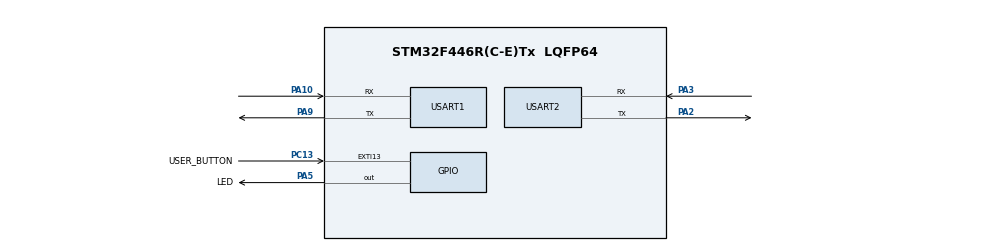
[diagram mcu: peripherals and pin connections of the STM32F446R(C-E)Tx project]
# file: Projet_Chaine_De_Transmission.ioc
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FREERTOS.Tasks01=defaultTask,24,128,StartDefaultTask,Default,NULL,Dynamic,NULL,NULL
Mcu.Family=STM32F4
Mcu.Name=STM32F446R(C-E)Tx
Mcu.Package=LQFP64
NVIC.PriorityGroup=NVIC_PRIORITYGROUP_4
PA10.Mode=Asynchronous
PA10.Signal=USART1_RX
PA2.Mode=Asynchronous
PA2.Signal=USART2_TX
PA3.Mode=Asynchronous
PA3.Signal=USART2_RX
PA5.GPIO_Label=LED
PA5.Signal=GPIO_Output
PA9.Mode=Asynchronous
PA9.Signal=USART1_TX
PC13.GPIO_Label=USER_BUTTON
PC13.Signal=GPXTI13
ProjectManager.HeapSize=0x200
ProjectManager.StackSize=0x400
ProjectManager.TargetToolchain=CMake
RCC.CortexFreq_Value=16000000
RCC.USBFreq_Value=96000000
RCC.VCOOutputFreq_Value=192000000
USART1.VirtualMode=VM_ASYNC
USART2.VirtualMode=VM_ASYNC
VP_FREERTOS_VS_CMSIS_V2.Mode=CMSIS_V2
board=custom

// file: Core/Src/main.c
/* USER CODE BEGIN Header */
/**
  ******************************************************************************
  * @file           : main.c
  * @brief          : Main program body
  ******************************************************************************
  * @attention
  *
  * Copyright (c) 2026 STMicroelectronics.
  * All rights reserved.
  *
  * This software is licensed under terms that can be found in the LICENSE file
  * in the root directory of this software component.
  * If no LICENSE file comes with this software, it is provided AS-IS.
  *
  ******************************************************************************
  */
/* USER CODE END Header */
#include "main.h"
#include "cmsis_os.h"
#include "protocol_icd.h"
#include "string.h"
#include <stdbool.h>
#include<stdio.h>

UART_HandleTypeDef huart1;
UART_HandleTypeDef huart2;

/* Definitions for defaultTask */
osThreadId_t communicationTaskHandle;
osThreadId_t protocolTaskHandle;
osThreadId_t securityTaskHandle;
osThreadId_t statusTaskHandle;

osMessageQueueId_t rxQueue;
osMessageQueueId_t txQueue;

const osThreadAttr_t communicationTask_attributes = {
    .name = "communicationTask",
    .stack_size = 2048,
    .priority = (osPriority_t) osPriorityNormal,
};

const osThreadAttr_t protocolTask_attributes = {
    .name = "protocolTask",
    .stack_size = 2048,
    /* Prioritaire sur CommunicationTask pour traiter immediatement rxQueue. */
    .priority = (osPriority_t) osPriorityAboveNormal,
};

const osThreadAttr_t securityTask_attributes = {
    .name = "securityTask",
    .stack_size = 512,
    .priority = (osPriority_t) osPriorityNormal,
};

const osThreadAttr_t statusTask_attributes = {
    .name = "statusTask",
    .stack_size = 512,
    .priority = (osPriority_t) osPriorityNormal,
};
/* USER CODE BEGIN PV */

typedef enum
{
    RX_SOURCE_USART1 = 0, /* Trame recue depuis l'autre carte */
    RX_SOURCE_PC = 1       /* Commande recue depuis le terminal USB */
} RxSource_t;

typedef struct
{
    ProtocolMessage_t message;
    RxSource_t source;
} RxQueueItem_t;

typedef enum
{
    MODULE_UNINITIALIZED = 0,
    MODULE_SYNCHRONIZING,
    MODULE_SYNCHRONIZED
} ModuleState_t;

/* Ces informations sont propres a chaque carte et initialisees a l'execution. */
static volatile ModuleState_t moduleState = MODULE_UNINITIALIZED;
static volatile bool moduleIsMaster = false;
static volatile uint8_t modulePosition = 0U;
static volatile uint32_t moduleId = 0U; /* ID dynamique: maitre=1, carte suivante=2. */

/* Cle de 32 bits stockee localement sur chaque carte. */
static uint32_t moduleKey = 0U;
static volatile bool keyUpdatePending = false;

/* Reinitialisation coordonnee et triple-clic sur le bouton USER. */
static volatile bool resetPending = false;
static volatile bool buttonResetRequested = false;
static volatile uint8_t userButtonPressCount = 0U;
static volatile uint32_t userButtonFirstPressTick = 0U;
static volatile uint32_t userButtonLastPressTick = 0U;

/* Reception USART1 et USART2 par interruption avec buffers circulaires. */
#define UART1_RX_RING_SIZE 128U
#define UART2_RX_RING_SIZE 128U

static uint8_t uart1RxByte;
static uint8_t uart1RxRing[UART1_RX_RING_SIZE];
static volatile uint16_t uart1RxHead = 0U;
static volatile uint16_t uart1RxTail = 0U;
static volatile uint32_t uart1RxDroppedBytes = 0U;

static uint8_t uart2RxByte;
static uint8_t uart2RxRing[UART2_RX_RING_SIZE];
static volatile uint16_t uart2RxHead = 0U;
static volatile uint16_t uart2RxTail = 0U;
static volatile uint32_t uart2RxDroppedBytes = 0U;

/* USER CODE END PV */

void SystemClock_Config(void);
static void MX_GPIO_Init(void);
static void MX_USART1_UART_Init(void);
static void MX_USART2_UART_Init(void);
void CommunicationTask(void *argument);
void ProtocolTask(void *argument);
void SecurityTask(void *argument);
void StatusTask(void *argument);
static bool Protocol_IsMessageValid(const ProtocolMessage_t *message);
static void Protocol_ProcessMessage(const RxQueueItem_t *item);
static void Console_ProcessLine(const char *line);
static void Console_Write(const char *text);
static void Protocol_SendUart1(uint8_t command, const uint8_t *payload, uint8_t length);
static uint32_t Protocol_GenerateKey32(void);
static void Protocol_XorCrypt(uint8_t *data, uint8_t length, uint32_t key);

int main(void)
{

  /* MCU Configuration--------------------------------------------------------*/

  /* Reset of all peripherals, Initializes the Flash interface and the Systick. */
  HAL_Init();

  /* Configure the system clock */
  SystemClock_Config();

  /* Initialize all configured peripherals */
  MX_GPIO_Init();
  MX_USART1_UART_Init();
  MX_USART2_UART_Init();

  /* Init scheduler */
  osKernelInitialize();

  /* USER CODE BEGIN RTOS_QUEUES */
  /* add queues, ... */
  rxQueue = osMessageQueueNew(5, sizeof(RxQueueItem_t), NULL);

  txQueue = osMessageQueueNew(5, sizeof(ProtocolMessage_t), NULL);

  if ((rxQueue == NULL) || (txQueue == NULL))
  {
      Error_Handler();
  }
  /* USER CODE END RTOS_QUEUES */

  /* Create the thread(s) */
  /* creation of defaultTask */
  communicationTaskHandle =
      osThreadNew(CommunicationTask, NULL, &communicationTask_attributes);

  protocolTaskHandle =
      osThreadNew(ProtocolTask, NULL, &protocolTask_attributes);

  securityTaskHandle =
      osThreadNew(SecurityTask, NULL, &securityTask_attributes);

  statusTaskHandle =
      osThreadNew(StatusTask, NULL, &statusTask_attributes);

  /* Start scheduler */
  osKernelStart();

  /* We should never get here as control is now taken by the scheduler */

  /* Infinite loop */
  while (1)
  {

  }
}

void SystemClock_Config(void)
{
  RCC_OscInitTypeDef RCC_OscInitStruct = {0};
  RCC_ClkInitTypeDef RCC_ClkInitStruct = {0};

  /** Configure the main internal regulator output voltage
  */
  __HAL_RCC_PWR_CLK_ENABLE();
  __HAL_PWR_VOLTAGESCALING_CONFIG(PWR_REGULATOR_VOLTAGE_SCALE3);

  /** Initializes the RCC Oscillators according to the specified parameters
  * in the RCC_OscInitTypeDef structure.
  */
  RCC_OscInitStruct.OscillatorType = RCC_OSCILLATORTYPE_HSI;
  RCC_OscInitStruct.HSIState = RCC_HSI_ON;
  RCC_OscInitStruct.HSICalibrationValue = RCC_HSICALIBRATION_DEFAULT;
  RCC_OscInitStruct.PLL.PLLState = RCC_PLL_NONE;
  if (HAL_RCC_OscConfig(&RCC_OscInitStruct) != HAL_OK)
  {
    Error_Handler();
  }

  /** Initializes the CPU, AHB and APB buses clocks
  */
  RCC_ClkInitStruct.ClockType = RCC_CLOCKTYPE_HCLK|RCC_CLOCKTYPE_SYSCLK
                              |RCC_CLOCKTYPE_PCLK1|RCC_CLOCKTYPE_PCLK2;
  RCC_ClkInitStruct.SYSCLKSource = RCC_SYSCLKSOURCE_HSI;
  RCC_ClkInitStruct.AHBCLKDivider = RCC_SYSCLK_DIV1;
  RCC_ClkInitStruct.APB1CLKDivider = RCC_HCLK_DIV1;
  RCC_ClkInitStruct.APB2CLKDivider = RCC_HCLK_DIV1;

  if (HAL_RCC_ClockConfig(&RCC_ClkInitStruct, FLASH_LATENCY_0) != HAL_OK)
  {
    Error_Handler();
  }
}

static void MX_USART1_UART_Init(void)
{

  huart1.Instance = USART1;
  huart1.Init.BaudRate = 115200;
  huart1.Init.WordLength = UART_WORDLENGTH_8B;
  huart1.Init.StopBits = UART_STOPBITS_1;
  huart1.Init.Parity = UART_PARITY_NONE;
  huart1.Init.Mode = UART_MODE_TX_RX;
  huart1.Init.HwFlowCtl = UART_HWCONTROL_NONE;
  huart1.Init.OverSampling = UART_OVERSAMPLING_16;
  if (HAL_UART_Init(&huart1) != HAL_OK)
  {
    Error_Handler();
  }

}

static void MX_USART2_UART_Init(void)
{

  huart2.Instance = USART2;
  huart2.Init.BaudRate = 115200;
  huart2.Init.WordLength = UART_WORDLENGTH_8B;
  huart2.Init.StopBits = UART_STOPBITS_1;
  huart2.Init.Parity = UART_PARITY_NONE;
  huart2.Init.Mode = UART_MODE_TX_RX;
  huart2.Init.HwFlowCtl = UART_HWCONTROL_NONE;
  huart2.Init.OverSampling = UART_OVERSAMPLING_16;
  if (HAL_UART_Init(&huart2) != HAL_OK)
  {
    Error_Handler();
  }

}

static void MX_GPIO_Init(void)
{
  GPIO_InitTypeDef GPIO_InitStruct = {0};

  /* GPIO Ports Clock Enable */
  __HAL_RCC_GPIOC_CLK_ENABLE();
  __HAL_RCC_GPIOA_CLK_ENABLE();

  /*Configure GPIO pin Output Level */
  HAL_GPIO_WritePin(LED_GPIO_Port, LED_Pin, GPIO_PIN_RESET);

  /*Configure GPIO pin : USER_BUTTON_Pin */
  GPIO_InitStruct.Pin = USER_BUTTON_Pin;
  GPIO_InitStruct.Mode = GPIO_MODE_IT_RISING;
  GPIO_InitStruct.Pull = GPIO_NOPULL;
  HAL_GPIO_Init(USER_BUTTON_GPIO_Port, &GPIO_InitStruct);

  /*Configure GPIO pin : LED_Pin */
  GPIO_InitStruct.Pin = LED_Pin;
  GPIO_InitStruct.Mode = GPIO_MODE_OUTPUT_PP;
  GPIO_InitStruct.Pull = GPIO_NOPULL;
  GPIO_InitStruct.Speed = GPIO_SPEED_FREQ_LOW;
  HAL_GPIO_Init(LED_GPIO_Port, &GPIO_InitStruct);

}

static void Console_Write(const char *text)
{
    if (text != NULL)
    {
        (void)HAL_UART_Transmit(&huart2, (uint8_t *)text,
                                (uint16_t)strlen(text), 100U);
    }
}

static void Protocol_SendUart1(uint8_t command, const uint8_t *payload, uint8_t length)
{
    ProtocolMessage_t message = {0};
    HAL_StatusTypeDef status;

    if (length > MAX_PAYLOAD_SIZE)
    {
        Console_Write("ERREUR: payload trop long\r\n");
        return;
    }

    message.header.start_byte = ICD_START_BYTE;
    message.header.command_type = command;
    message.header.length = length;
    message.header.reserve = 0U;
    message.header.id_src = moduleId;

    if ((payload != NULL) && (length > 0U))
    {
        memcpy(message.payload, payload, length);
    }

    /* CRC conserve a zero pour cette etape du projet. */
    message.crc = 0U;

    status = HAL_UART_Transmit(&huart1,
                               (uint8_t *)&message,
                               (uint16_t)sizeof(message),
                               100U);

    if (status != HAL_OK)
    {
        Console_Write("[ERREUR] Echec de transmission vers la carte voisine.\r\n");
    }
}

void CommunicationTask(void *argument)
{
    uint8_t rxByte;
    uint8_t frame[sizeof(ProtocolMessage_t)];
    size_t frameIndex = 0U;
    uint32_t lastFrameByteTick = 0U;
    char consoleLine[32];
    size_t consoleIndex = 0U;
    bool discardConsoleLine = false;
    HAL_StatusTypeDef rxStatus;

    (void)argument;

    Console_Write("Demarrage OK - USART1=interruptions, USART2=console PC\r\n");
    Console_Write("Commandes: INIT, REINITIALISATION, INFO, GET_INFO, GET_KEY, texte (max 16 octets)\r\n");

    /* Demarrer les receptions interruptives sur les deux UART. */
    rxStatus = HAL_UART_Receive_IT(&huart1, &uart1RxByte, 1U);
    if (rxStatus != HAL_OK)
    {
        Console_Write("ERREUR: impossible de demarrer la reception USART1 par interruption.\r\n");
    }

    rxStatus = HAL_UART_Receive_IT(&huart2, &uart2RxByte, 1U);
    if (rxStatus != HAL_OK)
    {
        Console_Write("ERREUR: impossible de demarrer la reception USART2 par interruption.\r\n");
    }

    for (;;)
    {
        /* Traiter rapidement tous les octets USART1 mis en tampon par l'interruption. */
        while (uart1RxTail != uart1RxHead)
        {
            rxByte = uart1RxRing[uart1RxTail];
            uart1RxTail = (uint16_t)((uart1RxTail + 1U) % UART1_RX_RING_SIZE);

            if (frameIndex == 0U)
            {
                if (rxByte == ICD_START_BYTE)
                {
                    frame[0] = rxByte;
                    frameIndex = 1U;
                    lastFrameByteTick = HAL_GetTick();
                }
            }
            else
            {
                frame[frameIndex++] = rxByte;
                lastFrameByteTick = HAL_GetTick();

                if (frameIndex == sizeof(frame))
                {
                    RxQueueItem_t item = {0};
                    memcpy(&item.message, frame, sizeof(item.message));
                    item.source = RX_SOURCE_USART1;
                    frameIndex = 0U;

                    if (osMessageQueuePut(rxQueue, &item, 0U, 0U) != osOK)
                    {
                        Console_Write("ERREUR: file RX pleine, trame perdue.\r\n");
                    }
                }
            }
        }

        /* Une trame incomplete est ignoree sans afficher son contenu brut. */
        if ((frameIndex > 0U) && ((HAL_GetTick() - lastFrameByteTick) > 100U))
        {
            Console_Write("[ERREUR] Message incomplet ignore.\r\n");
            frameIndex = 0U;
        }

        /*
         * USART2 : traiter tous les octets de console captures par interruption.
         * On vide le ring buffer, pas un seul octet par tour de boucle.
         */
        while (uart2RxTail != uart2RxHead)
        {
            rxByte = uart2RxRing[uart2RxTail];
            uart2RxTail = (uint16_t)((uart2RxTail + 1U) % UART2_RX_RING_SIZE);

            if ((rxByte == '\r') || (rxByte == '\n'))
            {
                if (!discardConsoleLine && (consoleIndex > 0U))
                {
                    consoleLine[consoleIndex] = '\0';
                    Console_ProcessLine(consoleLine);
                }
                consoleIndex = 0U;
                discardConsoleLine = false;
            }
            else if (!discardConsoleLine)
            {
                if (consoleIndex < (sizeof(consoleLine) - 1U))
                {
                    consoleLine[consoleIndex++] = (char)rxByte;
                }
                else
                {
                    consoleIndex = 0U;
                    discardConsoleLine = true;
                    Console_Write("\r\nERREUR: commande trop longue\r\n");
                }
            }
        }

        /* Convertir le triple-clic en commande protocolaire hors interruption. */
        if (buttonResetRequested)
        {
            RxQueueItem_t buttonItem = {0};
            buttonResetRequested = false;
            buttonItem.message.header.start_byte = ICD_START_BYTE;
            buttonItem.message.header.command_type = CMD_RESET;
            buttonItem.message.header.length = 1U;
            buttonItem.message.header.reserve = 0U;
            buttonItem.message.header.id_src = moduleId;
            buttonItem.message.payload[0] = 0U;
            buttonItem.message.crc = 0U;
            buttonItem.source = RX_SOURCE_PC;

            if (osMessageQueuePut(rxQueue, &buttonItem, 0U, 0U) == osOK)
            {
                Console_Write("\r\n[RESET] Triple appui detecte ; reinitialisation demandee.\r\n");
            }
            else
            {
                Console_Write("\r\nERREUR: file RX pleine; reinitialisation non lancee.\r\n");
            }
        }

        osDelay(1U);
    }
}

/*
 * Reception USART1 par interruption. Cette routine ne fait aucun affichage
 * et n'appelle pas FreeRTOS : elle depose seulement l'octet dans le ring buffer.
 */
void HAL_UART_RxCpltCallback(UART_HandleTypeDef *huart)
{
    if ((huart != NULL) && (huart->Instance == USART1))
    {
        uint16_t nextHead = (uint16_t)((uart1RxHead + 1U) % UART1_RX_RING_SIZE);
        if (nextHead != uart1RxTail)
        {
            uart1RxRing[uart1RxHead] = uart1RxByte;
            uart1RxHead = nextHead;
        }
        else
        {
            uart1RxDroppedBytes++;
        }

        if (HAL_UART_Receive_IT(&huart1, &uart1RxByte, 1U) != HAL_OK)
        {
            uart1RxDroppedBytes++;
        }
    }
    else if ((huart != NULL) && (huart->Instance == USART2))
    {
        uint16_t nextHead = (uint16_t)((uart2RxHead + 1U) % UART2_RX_RING_SIZE);
        if (nextHead != uart2RxTail)
        {
            uart2RxRing[uart2RxHead] = uart2RxByte;
            uart2RxHead = nextHead;
        }
        else
        {
            uart2RxDroppedBytes++;
        }

        if (HAL_UART_Receive_IT(&huart2, &uart2RxByte, 1U) != HAL_OK)
        {
            uart2RxDroppedBytes++;
        }
    }
}

/*
 * Triple pression sur USER en moins de 1,5 s.
 * La callback ne fait que compter les appuis; le protocole est traite
 * ensuite dans CommunicationTask, hors interruption.
 */
void HAL_GPIO_EXTI_Callback(uint16_t GPIO_Pin)
{
    uint32_t now;

    if (GPIO_Pin != USER_BUTTON_Pin)
    {
        return;
    }

    now = HAL_GetTick();
    if ((userButtonLastPressTick != 0U) &&
        ((now - userButtonLastPressTick) < 180U))
    {
        return; /* anti-rebond */
    }
    userButtonLastPressTick = now;

    if ((userButtonPressCount == 0U) ||
        ((now - userButtonFirstPressTick) > 1500U))
    {
        userButtonPressCount = 1U;
        userButtonFirstPressTick = now;
    }
    else
    {
        userButtonPressCount++;
    }

    if (userButtonPressCount >= 3U)
    {
        buttonResetRequested = true;
        userButtonPressCount = 0U;
        userButtonFirstPressTick = 0U;
    }
}

void HAL_UART_ErrorCallback(UART_HandleTypeDef *huart)
{
    if ((huart != NULL) && (huart->Instance == USART1))
    {
        /* Recuperer les erreurs HAL avant de relancer la reception. */
        (void)HAL_UART_AbortReceive(&huart1);
        (void)HAL_UART_Receive_IT(&huart1, &uart1RxByte, 1U);
    }
    else if ((huart != NULL) && (huart->Instance == USART2))
    {
        (void)HAL_UART_AbortReceive(&huart2);
        (void)HAL_UART_Receive_IT(&huart2, &uart2RxByte, 1U);
    }
}

/*
 * Genere une valeur pseudo-aleatoire de 32 bits pour les essais fonctionnels.
 * IMPORTANT : ce generateur n'est pas cryptographiquement securise.
 * Pour une vraie cle cryptographique, utiliser le RNG materiel s'il est
 * disponible et active dans la configuration STM32CubeMX.
 */
static uint32_t Protocol_GenerateKey32(void)
{
    static uint32_t state = 0x6D2B79F5U;

    state ^= HAL_GetTick();
    state ^= SysTick->VAL;
    if (state == 0U)
    {
        state = 0xA341316CU;
    }

    /* Xorshift32 */
    state ^= state << 13;
    state ^= state >> 17;
    state ^= state << 5;

    if (state == 0U)
    {
        state = 0xA341316CU;
    }

    return state;
}

/*
 * Chiffrement pedagogique XOR avec reutilisation des 4 octets de la cle.
 * Attention : ce mecanisme n'est pas un chiffrement securise.
 * Appliquer deux fois la meme operation retrouve les octets d'origine.
 */
static void Protocol_XorCrypt(uint8_t *data, uint8_t length, uint32_t key)
{
    uint8_t keyBytes[4];
    uint8_t i;

    keyBytes[0] = (uint8_t)(key & 0xFFU);
    keyBytes[1] = (uint8_t)((key >> 8) & 0xFFU);
    keyBytes[2] = (uint8_t)((key >> 16) & 0xFFU);
    keyBytes[3] = (uint8_t)((key >> 24) & 0xFFU);

    for (i = 0U; i < length; i++)
    {
        data[i] ^= keyBytes[i % 4U];
    }
}

static void Console_ProcessLine(const char *line)
{
    RxQueueItem_t item = {0};
    char normalized[32];
    size_t start = 0U;
    size_t end;
    size_t length;
    size_t i;

    if (line == NULL)
    {
        return;
    }

    /* Retirer uniquement les espaces en debut/fin; conserver la casse du message. */
    while ((line[start] == ' ') || (line[start] == '\t'))
    {
        start++;
    }
    end = strlen(line);
    while ((end > start) &&
           ((line[end - 1U] == ' ') || (line[end - 1U] == '\t')))
    {
        end--;
    }
    length = end - start;

    if (length == 0U)
    {
        return;
    }

    /* Copie en majuscules uniquement pour reconnaitre I/INIT. */
    for (i = 0U; (i < length) && (i < (sizeof(normalized) - 1U)); i++)
    {
        char c = line[start + i];
        if ((c >= 'a') && (c <= 'z'))
        {
            c = (char)(c - 'a' + 'A');
        }
        normalized[i] = c;
    }
    normalized[i] = '\0';

    /*
     * GET_KEY affiche uniquement la cle deja generee pendant INIT.
     * Ne pas regenerer la cle ici : les deux cartes doivent conserver
     * la meme cle pour que le dechiffrement continue de fonctionner.
     */
    if (strcmp(normalized, "GET_KEY") == 0)
    {
        char keyText[16];

        if ((!moduleIsMaster) || (moduleState != MODULE_SYNCHRONIZED) ||
            (moduleKey == 0U))
        {
            Console_Write("ERREUR: aucune cle disponible; lancez INIT d'abord.\r\n");
            return;
        }

        (void)snprintf(keyText, sizeof(keyText), "0x%08lX\r\n",
                       (unsigned long)moduleKey);
        Console_Write(keyText);
        return;
    }

    /* Les logs detailles sont emis par le traitement de chaque commande. */

    if (strcmp(normalized, "REINITIALISATION") == 0)
    {
        item.message.header.start_byte = ICD_START_BYTE;
        item.message.header.command_type = CMD_RESET;
        item.message.header.length = 1U;
        item.message.header.reserve = 0U;
        item.message.header.id_src = moduleId;
        item.message.payload[0] = 0U;
        item.message.crc = 0U;
        item.source = RX_SOURCE_PC;

        if (osMessageQueuePut(rxQueue, &item, 0U, 0U) != osOK)
        {
            Console_Write("ERREUR: impossible de mettre REINITIALISATION en file.\r\n");
        }
        else
        {
            Console_Write("[RESET] Demande prise en compte.\r\n");
        }
        return;
    }

    if ((strcmp(normalized, "I") == 0) || (strcmp(normalized, "INIT") == 0))
    {
        item.message.header.start_byte = ICD_START_BYTE;
        item.message.header.command_type = CMD_INIT;
        item.message.header.length = 1U;
        item.message.header.reserve = 0U;
        item.message.header.id_src = moduleId;
        item.message.payload[0] = 0U; /* INIT = 0 selon l'ICD */
        item.message.crc = 0U;
        item.source = RX_SOURCE_PC;

        if (osMessageQueuePut(rxQueue, &item, 0U, 0U) != osOK)
        {
            Console_Write("ERREUR: impossible de mettre INIT en file\r\n");
        }
        else
        {
            Console_Write("[INIT] Initialisation demandee.\r\n");
        }
        return;
    }

    /* GET_INFO demande au maitre les informations de la carte esclave. */
    if (strcmp(normalized, "GET_INFO") == 0)
    {
        if ((!moduleIsMaster) || (moduleState != MODULE_SYNCHRONIZED))
        {
            Console_Write("ERREUR: GET_INFO necessite un maitre initialise et synchronise.\r\n");
            return;
        }

        item.message.header.start_byte = ICD_START_BYTE;
        item.message.header.command_type = CMD_GET_INFO;
        item.message.header.length = 0U;
        item.message.header.reserve = 0U;
        item.message.header.id_src = moduleId;
        item.message.crc = 0U;
        item.source = RX_SOURCE_PC;

        if (osMessageQueuePut(rxQueue, &item, 0U, 0U) != osOK)
        {
            Console_Write("ERREUR: impossible de mettre GET_INFO en file\r\n");
        }
        else
        {
            Console_Write("[INFO] Demande d'informations en cours.\r\n");
        }
        return;
    }

    /* INFO est une commande locale : elle ne modifie pas le protocole ICD. */
    if (strcmp(normalized, "INFO") == 0)
    {
        char info[160];
        const char *role;
        const char *state;

        if (moduleState == MODULE_UNINITIALIZED)
        {
            role = "NON DEFINI";
            state = "NON INITIALISE";
        }
        else
        {
            role = moduleIsMaster ? "MAITRE" : "ESCLAVE";
            if (moduleState == MODULE_SYNCHRONIZING)
            {
                state = "SYNCHRONISATION EN COURS";
            }
            else
            {
                state = "SYNCHRONISE";
            }
        }

        (void)snprintf(info, sizeof(info),
                       "\r\n[INFO] ETAT DE LA CARTE\r\n"
                       "Identifiant: %lu\r\n"
                       "Role: %s\r\n"
                       "Position: %u\r\n"
                       "Statut: %s\r\n"
                       "------------------------------\r\n",
                       (unsigned long)moduleId, role,
                       (unsigned int)modulePosition, state);
        Console_Write(info);
        return;
    }

    /* Toute autre ligne est un message texte, limite a la taille du payload ICD. */
    if (length > MAX_PAYLOAD_SIZE)
    {
        Console_Write("[ERREUR] Message trop long (16 caracteres maximum).\r\n");
        return;
    }

    if ((!moduleIsMaster) || (moduleState != MODULE_SYNCHRONIZED))
    {
        Console_Write("ERREUR: initialiser et synchroniser le maitre avant d'envoyer un message.\r\n");
        return;
    }

    item.message.header.start_byte = ICD_START_BYTE;
    item.message.header.command_type = CMD_MSG;
    item.message.header.length = (uint8_t)length;
    item.message.header.reserve = 0U;
    item.message.header.id_src = moduleId;
    memcpy(item.message.payload, &line[start], length);

    /*
     * Le maitre chiffre le texte avant de le placer dans la file.
     * Le test de cle non nulle evite d'envoyer un message chiffre avec une
     * cle qui n'a pas encore ete distribuee.
     */
    if (moduleKey == 0U)
    {
        Console_Write("ERREUR: aucune cle disponible. Lancez GET_KEY avant d'envoyer un message.\r\n");
        return;
    }
    Protocol_XorCrypt(item.message.payload, (uint8_t)length, moduleKey);

    item.message.crc = 0U;
    item.source = RX_SOURCE_PC;

    if (osMessageQueuePut(rxQueue, &item, 0U, 0U) != osOK)
    {
        Console_Write("[ERREUR] File de traitement pleine ; message non envoye.\r\n");
    }
    else
    {
        Console_Write("[MESSAGE] Envoi en cours de traitement.\r\n");
    }
}

static bool Protocol_IsMessageValid(const ProtocolMessage_t *message)
{
    if (message == NULL)
    {
        return false;
    }

    /* Verifications structurelles communes a toutes les commandes. */
    if (message->header.start_byte != ICD_START_BYTE)
    {
        return false;
    }

    if (message->header.reserve != 0U)
    {
        return false;
    }

    if (message->header.length > MAX_PAYLOAD_SIZE)
    {
        return false;
    }

    /* Refuser les valeurs de commande qui ne sont pas definies dans l'ICD. */
    if ((message->header.command_type != CMD_INIT)          &&
        (message->header.command_type != CMD_RESET)         &&
        (message->header.command_type != CMD_ACK)           &&
        (message->header.command_type != CMD_MSG)           &&
        (message->header.command_type != CMD_ERROR)         &&
        (message->header.command_type != CMD_GET_INFO)      &&
        (message->header.command_type != CMD_INFO_RESPONSE)  &&
        (message->header.command_type != CMD_GET_KEY)        &&
        (message->header.command_type != CMD_UPDT_KEY))
    {
        return false;
    }

    /* Verifications propres aux commandes deja utilisees par le test. */
    if (message->header.command_type == CMD_INIT)
    {
        if (message->header.length != 1U)
        {
            return false;
        }
    }
    else if ((message->header.command_type == CMD_ACK) ||
             (message->header.command_type == CMD_GET_INFO) ||
             (message->header.command_type == CMD_GET_KEY))
    {
        if (message->header.length != 0U)
        {
            return false;
        }
    }
    else if (message->header.command_type == CMD_RESET)
    {
        if ((message->header.length != 1U) || (message->payload[0] > 1U))
        {
            return false;
        }
    }
    else if (message->header.command_type == CMD_UPDT_KEY)
    {
        if (message->header.length != 4U)
        {
            return false;
        }
    }
    else if (message->header.command_type == CMD_INFO_RESPONSE)
    {
        /* id (4 octets) + position (1 octet) + statut (1 octet). */
        if (message->header.length != 6U)
        {
            return false;
        }
    }

    /* Le CRC est encore fixe a zero dans cette version et n'est pas verifie. */
    return true;
}

static void Protocol_ProcessMessage(const RxQueueItem_t *item)
{
    const ProtocolMessage_t *message;

    if (item == NULL)
    {
        return;
    }
    message = &item->message;

    switch (message->header.command_type)
    {
        case CMD_INIT:
        {
            if (message->header.length != 1U)
            {
                Console_Write("INIT ignore: longueur invalide");
                break;
            }

            if (item->source == RX_SOURCE_PC)
            {
                /* Une commande INIT saisie sur le PC designe cette carte comme maitre. */
                if (moduleState == MODULE_UNINITIALIZED)
                {
                    moduleIsMaster = true;
                    moduleId = 1U;
                    modulePosition = 1U;
                    moduleState = MODULE_SYNCHRONIZING;
                    {
                        uint8_t assignedId = 2U;
                        Console_Write("[INIT 1/4] Carte configuree en MAITRE (ID 1).\r\n");
                        Console_Write("[INIT 2/4] Attribution de l'ID 2 ; attente de confirmation.\r\n");
                        Protocol_SendUart1(CMD_INIT, &assignedId, 1U);
                    }
                }
                else if (moduleIsMaster)
                {
                    Console_Write("Carte deja initialisee comme MAITRE\r\n");
                }
                else
                {
                    Console_Write("INIT refuse: carte deja initialisee comme ESCLAVE\r\n");
                }
            }
            else
            {
                /* L'ID de l'esclave est attribue par le maitre dans le payload INIT. */
                if (message->payload[0] == 0U)
                {
                    Console_Write("INIT USART1 refuse: ID attribue invalide.\r\n");
                    break;
                }
                if (moduleState == MODULE_UNINITIALIZED)
                {
                    char idText[80];
                    moduleIsMaster = false;
                    moduleId = (uint32_t)message->payload[0];
                    modulePosition = message->payload[0];
                    moduleState = MODULE_SYNCHRONIZED;
                    (void)snprintf(idText, sizeof(idText),
                                   "[INIT] Carte configuree en ESCLAVE (ID %lu).\r\n",
                                   (unsigned long)moduleId);
                    Console_Write(idText);
                }

                /* L'ACK confirme la reception de la commande INIT au maitre. */
                Protocol_SendUart1(CMD_ACK, NULL, 0U);
                Console_Write("[INIT] Confirmation envoyee au maitre.\r\n");
            }
            break;
        }

        case CMD_ACK:
            /* ACK de RESET: effacer l'etat local puis relancer INIT automatiquement. */
            if (moduleIsMaster && resetPending)
            {
                RxQueueItem_t initItem = {0};

                resetPending = false;
                keyUpdatePending = false;
                moduleKey = 0U;
                moduleState = MODULE_UNINITIALIZED;
                moduleIsMaster = false;
                modulePosition = 0U;
                moduleId = 0U;
                HAL_GPIO_WritePin(LED_GPIO_Port, LED_Pin, GPIO_PIN_RESET);
                Console_Write("[RESET] Confirmation recue ; relance automatique de l'initialisation.\r\n");

                initItem.message.header.start_byte = ICD_START_BYTE;
                initItem.message.header.command_type = CMD_INIT;
                initItem.message.header.length = 1U;
                initItem.message.header.reserve = 0U;
                initItem.message.header.id_src = moduleId;
                initItem.message.payload[0] = 0U;
                initItem.message.crc = 0U;
                initItem.source = RX_SOURCE_PC;

                if (osMessageQueuePut(rxQueue, &initItem, 0U, 0U) != osOK)
                {
                    Console_Write("ERREUR: RESET termine, mais INIT automatique n'a pas pu etre mis en file.\r\n");
                }
            }
            /* Priorite a l'ACK attendu pour UPDT_KEY. */
            else if (moduleIsMaster && keyUpdatePending)
            {
                keyUpdatePending = false;
                Console_Write("[CLE] Confirmation : cle enregistree sur la carte esclave.\r\n");
            }
            else if (moduleIsMaster && (moduleState == MODULE_SYNCHRONIZING))
            {
                uint8_t payload[4];
                char keyText[96];

                moduleState = MODULE_SYNCHRONIZED;
                HAL_GPIO_WritePin(LED_GPIO_Port, LED_Pin, GPIO_PIN_SET);
                Console_Write("[INIT 3/4] Liaison avec la carte voisine synchronisee.\r\n");

                /* Apres l'ACK d'INIT, generation et distribution automatiques de la cle. */
                moduleKey = Protocol_GenerateKey32();
                payload[0] = (uint8_t)(moduleKey & 0xFFU);
                payload[1] = (uint8_t)((moduleKey >> 8) & 0xFFU);
                payload[2] = (uint8_t)((moduleKey >> 16) & 0xFFU);
                payload[3] = (uint8_t)((moduleKey >> 24) & 0xFFU);

                (void)snprintf(keyText, sizeof(keyText),
                               "[CLE 1/2] Cle de session generee : 0x%08lX\r\n",
                               (unsigned long)moduleKey);
                Console_Write(keyText);

                keyUpdatePending = true;
                Protocol_SendUart1(CMD_UPDT_KEY, payload, 4U);
                Console_Write("[CLE 2/2] Cle transmise ; attente de confirmation.\r\n");
            }
            else
            {
                Console_Write("ACK recu\r\n");
            }
            break;

        case CMD_GET_INFO:
        {
            if (item->source == RX_SOURCE_PC)
            {
                if (moduleIsMaster && (moduleState == MODULE_SYNCHRONIZED))
                {
                    Protocol_SendUart1(CMD_GET_INFO, NULL, 0U);
                    Console_Write("[INFO] Demande transmise a la carte esclave.\r\n");
                }
                else
                {
                    Console_Write("GET_INFO refuse: seul le maitre synchronise peut envoyer cette demande.\r\n");
                }
            }
            else
            {
                /* ID encode explicitement en little-endian, puis position et statut. */
                uint8_t payload[6];
                uint32_t id = moduleId;

                payload[0] = (uint8_t)(id & 0xFFU);
                payload[1] = (uint8_t)((id >> 8) & 0xFFU);
                payload[2] = (uint8_t)((id >> 16) & 0xFFU);
                payload[3] = (uint8_t)((id >> 24) & 0xFFU);
                payload[4] = modulePosition;
                payload[5] = (uint8_t)moduleState;

                Protocol_SendUart1(CMD_INFO_RESPONSE, payload, 6U);
                Console_Write("[INFO] Informations transmises au maitre.\r\n");
            }
            break;
        }

        case CMD_UPDT_KEY:
        {
            if ((item->source == RX_SOURCE_USART1) &&
                (!moduleIsMaster) &&
                (message->header.length == 4U))
            {
                moduleKey = ((uint32_t)message->payload[0]) |
                            ((uint32_t)message->payload[1] << 8) |
                            ((uint32_t)message->payload[2] << 16) |
                            ((uint32_t)message->payload[3] << 24);

                {
                    char keyText[96];
                    (void)snprintf(keyText, sizeof(keyText),
                                   "[CLE] Cle de session recue et enregistree.\r\n",
                                   (unsigned long)moduleKey);
                    Console_Write(keyText);
                }

                Protocol_SendUart1(CMD_ACK, NULL, 0U);
                Console_Write("[CLE] Confirmation de reception envoyee au maitre.\r\n");
            }
            else
            {
                Console_Write("UPDT_KEY refuse: source ou longueur invalide.\r\n");
            }
            break;
        }

        case CMD_INFO_RESPONSE:
        {
            if ((item->source == RX_SOURCE_USART1) &&
                moduleIsMaster && (moduleState == MODULE_SYNCHRONIZED))
            {
                uint32_t id;
                uint8_t position = message->payload[4];
                uint8_t status = message->payload[5];
                const char *statusText;

                id = ((uint32_t)message->payload[0]) |
                     ((uint32_t)message->payload[1] << 8) |
                     ((uint32_t)message->payload[2] << 16) |
                     ((uint32_t)message->payload[3] << 24);

                switch (status)
                {
                    case MODULE_UNINITIALIZED:
                        statusText = "NON INITIALISE";
                        break;
                    case MODULE_SYNCHRONIZING:
                        statusText = "SYNCHRONISATION EN COURS";
                        break;
                    case MODULE_SYNCHRONIZED:
                        statusText = "SYNCHRONISE";
                        break;
                    default:
                        statusText = "INCONNU";
                        break;
                }

                {
                    char info[160];
                    (void)snprintf(info, sizeof(info),
                                   "\r\n[INFO] ETAT DE LA CARTE ESCLAVE\r\n"
                                   "Identifiant: %lu\r\n"
                                   "Position: %u\r\n"
                                   "Statut: %s\r\n"
                                   "----------------------------------\r\n",
                                   (unsigned long)id,
                                   (unsigned int)position,
                                   statusText);
                    Console_Write(info);
                }
            }
            else
            {
                Console_Write("Reponse INFO recue hors contexte, ignoree.\r\n");
            }
            break;
        }

        case CMD_RESET:
        {
            uint8_t resetMode = message->payload[0];

            if (item->source == RX_SOURCE_PC)
            {
                if (moduleIsMaster)
                {
                    if (resetPending)
                    {
                        Console_Write("REINITIALISATION deja en cours.\r\n");
                        break;
                    }

                    resetPending = true;
                    resetMode = 0U;
                    Protocol_SendUart1(CMD_RESET, &resetMode, 1U);
                    Console_Write("[RESET] Demande transmise ; attente de confirmation.\r\n");
                }
                else
                {
                    resetMode = 1U;
                    Protocol_SendUart1(CMD_RESET, &resetMode, 1U);
                    Console_Write("[RESET] Demande transmise au maitre.\r\n");
                }
            }
            else if (moduleIsMaster && (resetMode == 1U))
            {
                if (!resetPending)
                {
                    resetPending = true;
                    resetMode = 0U;
                    Protocol_SendUart1(CMD_RESET, &resetMode, 1U);
                    Console_Write("[RESET] Reinitialisation coordonnee demandee par l'esclave.\r\n");
                }
            }
            else if ((!moduleIsMaster) && (resetMode == 0U))
            {
                moduleKey = 0U;
                keyUpdatePending = false;
                moduleState = MODULE_UNINITIALIZED;
                moduleIsMaster = false;
                modulePosition = 0U;
                moduleId = 0U;
                HAL_GPIO_WritePin(LED_GPIO_Port, LED_Pin, GPIO_PIN_RESET);
                Console_Write("[RESET] Etat local et cle effaces.\r\n");
                Protocol_SendUart1(CMD_ACK, NULL, 0U);
                Console_Write("[RESET] Confirmation envoyee au maitre.\r\n");
            }
            else
            {
                Console_Write("RESET ignore: role ou mode invalide.\r\n");
            }
            break;
        }

        case CMD_MSG:
        {
            if (item->source == RX_SOURCE_PC)
            {
                if (moduleIsMaster && (moduleState == MODULE_SYNCHRONIZED))
                {
                    Protocol_SendUart1(CMD_MSG, message->payload,
                                       message->header.length);
                    Console_Write("[MESSAGE] Message chiffre transmis a la carte voisine.\r\n");
                }
                else
                {
                    Console_Write("ERREUR: transmission refusee, maitre non synchronise.\r\n");
                }
            }
            else
            {
                char receivedText[MAX_PAYLOAD_SIZE + 1U];
                uint8_t textLength = message->header.length;
                uint8_t decryptedPayload[MAX_PAYLOAD_SIZE];

                if (moduleKey == 0U)
                {
                    Console_Write("ERREUR: message chiffre recu mais aucune cle disponible.\r\n");
                    break;
                }

                memcpy(decryptedPayload, message->payload, textLength);
                Protocol_XorCrypt(decryptedPayload, textLength, moduleKey);
                memcpy(receivedText, decryptedPayload, textLength);
                receivedText[textLength] = '\0';

                Console_Write("[MESSAGE] Texte dechiffre recu : ");
                Console_Write(receivedText);
                Console_Write("\r\n");
            }
            break;
        }

        case CMD_ERROR:
            Console_Write("Commande ERROR recue\r\n");
            break;

        default:
            Console_Write("Type de commande inconnu\r\n");
            break;
    }
}

void ProtocolTask(void *argument)
{
    RxQueueItem_t item;
    (void)argument;

    for (;;)
    {
        if (osMessageQueueGet(rxQueue, &item, NULL, osWaitForever) == osOK)
        {
            if (Protocol_IsMessageValid(&item.message))
            {
                Protocol_ProcessMessage(&item);
            }
            else
            {
                Console_Write("[ERREUR] Message recu invalide ; message ignore.\r\n");
            }
        }
    }
}

void SecurityTask(void *argument)
{
    (void)argument;
    for (;;)
    {
        /* La securite est geree par les fonctions de protocole et de chiffrement. */
        osDelay(10U);
    }
}

void StatusTask(void *argument)
{
    GPIO_PinState ledState = GPIO_PIN_RESET;

    (void)argument;

    /*
     * LED d'etat :
     * - module non synchronise (non initialise ou synchronisation en cours) :
     *   clignotement toutes les 500 ms ;
     * - module synchronise : LED allumee en continu.
     *
     * Cette tache est le gestionnaire principal de la LED.
     */
    for (;;)
    {
        if (moduleState == MODULE_SYNCHRONIZED)
        {
            ledState = GPIO_PIN_SET;
            HAL_GPIO_WritePin(LED_GPIO_Port, LED_Pin, GPIO_PIN_SET);
            osDelay(100U);
        }
        else
        {
            ledState = (ledState == GPIO_PIN_SET) ? GPIO_PIN_RESET : GPIO_PIN_SET;
            HAL_GPIO_WritePin(LED_GPIO_Port, LED_Pin, ledState);
            osDelay(500U);
        }
    }
}

void Error_Handler(void)
{
  __disable_irq();
  while (1)
  {
  }
}
